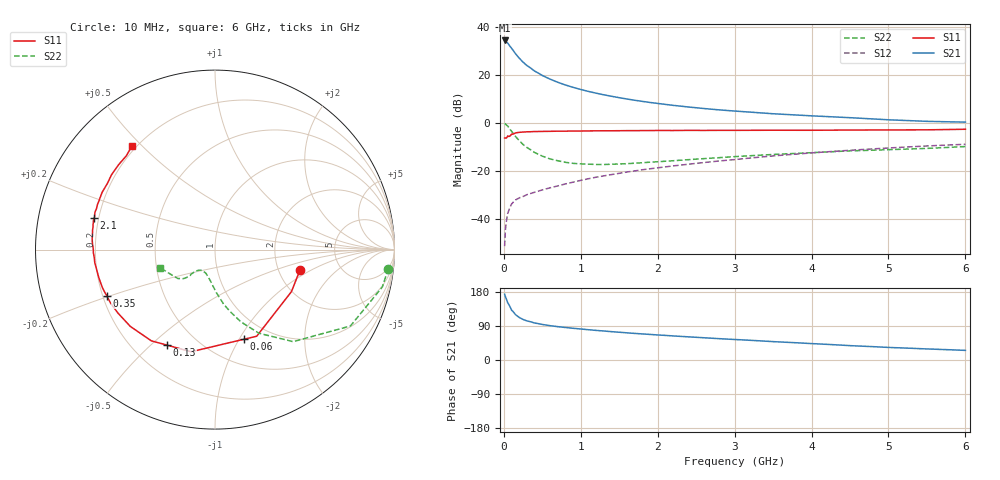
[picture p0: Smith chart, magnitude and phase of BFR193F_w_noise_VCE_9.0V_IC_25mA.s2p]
! Infineon Technologies  Discrete & RF Semiconductors
! BFR193F
! VCE =  9.0 V,  IC =  25 mA
! Common Emitter S-Parameters:  Jan 2017
# GHz  S  MA  R  50
!  f  S11  S21  S12  S22
! GHz  MAG  ANG  MAG  ANG  MAG  ANG  MAG  ANG
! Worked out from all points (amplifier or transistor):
!   77 points, 10 MHz to 6 GHz, reference 50 ohm
!   highest |S21| = 34.4 dB at 10 MHz (marker M1)
!   |S21| within 3 dB of that: start of sweep to 93.95 MHz
!   unconditionally stable (mu >= 1): 1.275 GHz to 2.666 GHz
!   at 130 MHz: K = 0.32, MSG = 31.3 dB, |S12| = -32.8 dB
!   at 2.2 GHz: K = 1.02, MAG = 11.8 dB, |S12| = -17.9 dB
!   at 6 GHz: K = 0.84, MSG = 4.6 dB, |S12| = -8.9 dB
!   lowest NFmin = 1.11 dB at 450 MHz
!   S11 on the Smith chart (normalised r, x): 10 MHz: 2.63, -0.79; 60 MHz: 0.76, -1.05; 130 MHz: 0.34, -0.56; 350 MHz: 0.22, -0.19; 2.1 GHz: 0.18, +0.12; 6 GHz: 0.18, +0.46
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0.01  0.4868 -13.6  52.41 173.6  0.0027 83.0  0.9709 -6.3
0.02  0.4861 -28.8  51.23 167.3  0.0058 84.5  0.9559 -12.5
0.05  0.5357 -64.3  46.4 151.3  0.0129 66.8  0.8663 -29.4
0.06  0.5247 -72.3  43.99 148.1  0.0143 63.2  0.8206 -32.7
0.1  0.5845 -103.2  36.12 131.7  0.0204 54.2  0.6729 -49.7
0.13  0.5954 -116.6  31.07 125.4  0.023 51.1  0.5811 -56.5
0.15  0.6198 -124.9  27.97 120.0  0.0247 49.4  0.5258 -62.3
0.2  0.637 -137.8  22.41 112.3  0.0274 48.0  0.4285 -70.2
0.25  0.6461 -146.8  18.49 107.0  0.0293 47.0  0.3554 -76.3
0.3  0.6536 -152.8  15.76 103.2  0.032 48.5  0.3076 -81.0
0.35  0.6561 -157.0  13.89 100.8  0.0339 49.8  0.2744 -84.0
0.4  0.6621 -161.1  12.06 97.6  0.0359 51.0  0.2421 -87.9
0.5  0.666 -166.5  9.761 93.8  0.0402 53.7  0.2033 -93.2
0.6  0.6687 -170.4  8.198 90.6  0.0444 57.3  0.178 -97.9
0.8  0.6741 -176.1  6.185 85.8  0.0535 61.6  0.1511 -106.3
1.1  0.6823 177.8  4.538 79.9  0.0687 65.7  0.1385 -115.5
1.5  0.6889 172.2  3.361 73.3  0.0891 68.7  0.1394 -124.4
2.1  0.6961 165.5  2.438 64.9  0.1215 70.6  0.1591 -131.2
3.1  0.7018 156.5  1.726 53.1  0.1788 70.8  0.2028 -134.1
4.1  0.705 147.6  1.382 42.3  0.2436 68.3  0.2442 -138.5
5.1  0.7158 137.6  1.146 32.4  0.3067 63.4  0.2805 -150.1
6  0.7386 128.9  1.04 25.4  0.359 58.4  0.3222 -161.8
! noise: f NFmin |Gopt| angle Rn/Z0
0.45  1.11  0.36  173  0.06
0.9  1.19  0.41  174  0.06
1.9  1.77  0.57  -169  0.07
2.4  2.06  0.61  -160  0.11
